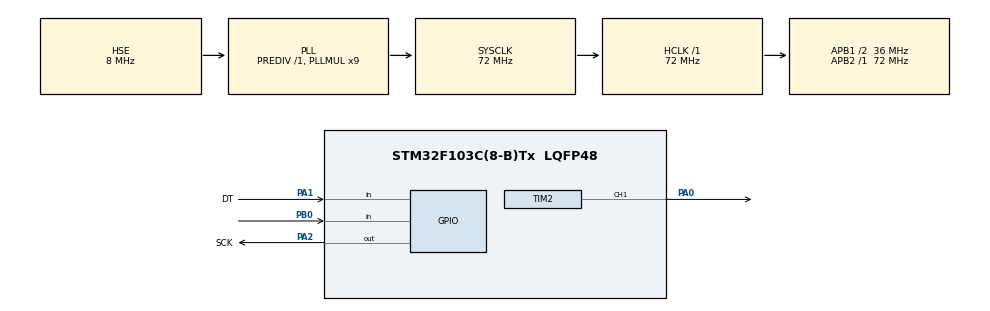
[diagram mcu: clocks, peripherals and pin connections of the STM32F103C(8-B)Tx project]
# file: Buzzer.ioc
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Mcu.Family=STM32F1
RCC.PLLSourceVirtual=RCC_PLLSOURCE_HSE
PD1-OSC_OUT.Mode=HSE-External-Oscillator
PD0-OSC_IN.Signal=RCC_OSC_IN
RCC.APB1CLKDivider=RCC_HCLK_DIV2
RCC.SYSCLKSource=RCC_SYSCLKSOURCE_PLLCLK
ProjectManager.StackSize=0x400
PA0-WKUP.Signal=S_TIM2_CH1_ETR
PD1-OSC_OUT.Signal=RCC_OSC_OUT
RCC.ADCPresc=RCC_ADCPCLK2_DIV6
PA13.Signal=SYS_JTMS-SWDIO
TIM1.Prescaler=72-1
ProjectManager.TargetToolchain=STM32CubeIDE
RCC.HCLKFreq_Value=72000000
RCC.APB2TimFreq_Value=72000000
RCC.USBFreq_Value=72000000
PA1.Signal=GPIO_Input
RCC.AHBFreq_Value=72000000
PD0-OSC_IN.Mode=HSE-External-Oscillator
board=custom
RCC.PLLMUL=RCC_PLL_MUL9
RCC.APB2Freq_Value=72000000
VP_TIM2_VS_ClockSourceINT.Mode=Internal
PA14.Mode=Serial_Wire
PA1.GPIO_Label=DT
TIM2.Channel-PWM\ Generation1\ CH1=TIM_CHANNEL_1
PA13.Mode=Serial_Wire
Mcu.Name=STM32F103C(8-B)Tx
VP_TIM1_VS_ClockSourceINT.Mode=Internal
PA2.Signal=GPIO_Output
RCC.SYSCLKFreq_VALUE=72000000
Mcu.Package=LQFP48
TIM2.Prescaler=72-1
PA2.GPIO_Label=SCK
SH.S_TIM2_CH1_ETR.0=TIM2_CH1,PWM Generation1 CH1
PA14.Signal=SYS_JTCK-SWCLK
ProjectManager.HeapSize=0x200
NVIC.PriorityGroup=NVIC_PRIORITYGROUP_4
RCC.APB1TimFreq_Value=72000000
TIM2.AutoReloadPreload=TIM_AUTORELOAD_PRELOAD_ENABLE
RCC.APB1Freq_Value=36000000
PB0.Signal=GPIO_Input
PB0.GPIO_PuPd=GPIO_PULLUP

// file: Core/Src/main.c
/* USER CODE BEGIN Header */
/**
  ******************************************************************************
  * @file           : main.c
  * @brief          : Main program body
  ******************************************************************************
  * @attention
  *
  * <h2><center>&copy; Copyright (c) 2025 STMicroelectronics.
  * All rights reserved.</center></h2>
  *
  * This software component is licensed by ST under BSD 3-Clause license,
  * the "License"; You may not use this file except in compliance with the
  * License. You may obtain a copy of the License at:
  *                        opensource.org/licenses/BSD-3-Clause
  *
  ******************************************************************************
  */
/* USER CODE END Header */
#include "main.h"

/* USER CODE BEGIN PD */
#define coreClock (72000000)
#define SYSTICK_LOAD (SystemCoreClock/1000000U)
#define SYSTICK_DELAY_CALIB (SYSTICK_LOAD >> 1)

#define DELAY_US(us) \
    do { \
         uint32_t start = SysTick->VAL; \
         uint32_t ticks = (us * SYSTICK_LOAD)-SYSTICK_DELAY_CALIB;  \
         while((start - SysTick->VAL) < ticks); \
    } while (0)

/* USER CODE END PD */

TIM_HandleTypeDef htim1;
TIM_HandleTypeDef htim2;

void SystemClock_Config(void);
static void MX_GPIO_Init(void);
static void MX_TIM1_Init(void);
static void MX_TIM2_Init(void);
/* USER CODE BEGIN PFP */
static void Tone(uint32_t Frequency, uint32_t Duration);
static void noTone();

/* USER CODE END PFP */

/* USER CODE BEGIN 0 */
int sensorVal = 0;

void start_timer(TIM_HandleTypeDef* htim)
{
	HAL_TIM_Base_Start(htim);
	__HAL_TIM_SET_COUNTER(htim,0);
}

uint32_t stop_timer(TIM_HandleTypeDef *htim)
{
	uint32_t ret = __HAL_TIM_GET_COUNTER(htim);
	HAL_TIM_Base_Stop(htim);
	return ret;
}

static void Tone(uint32_t Frequency, uint32_t Duration)
{
    TIM2->ARR = (1000000UL / Frequency) - 1; // Set The PWM Frequency
    TIM2->CCR1 = (TIM2->ARR >> 1); // Set Duty Cycle 50%
    HAL_Delay(Duration); // Wait For The Tone Duration, en ms
}

static void noTone()
{
    TIM2->CCR1 = 0; // Set Duty Cycle 0%
}

/* USER CODE END 0 */

int main(void)
{
  /* USER CODE BEGIN 1 */
//	uint32_t OctaveFour[7] = {262, 294, 330, 349, 392, 440, 493}; // Octave_4 Frequencies (C4->B4)
//
//	uint32_t notas[14]  = {2092,2792,2636,2348,2092,2792,2092,2348,2092,784,880,932,880,2092};
//	uint32_t notas2[13] = {2092,2792,2636,2348,2092,2792,2792,3136,2792,2636,2348,2636,2792};

	//elevadas un semitono más, igual al lavarropas LG
//	uint32_t notas[14]  = {2215,2958,2792,2487,2215,2958,2215,2487,2215,830,932,987,932,2215};
	uint32_t notas[14]  = {2215,2958,2792,2487,2215,1865,1976,2215,2487,1661,1865,1976,1865,2215};
	uint32_t notas2[13] = {2215,2958,2792,2487,2215,2958,2958,3321,2958,2792,2487,2792,2958};

	uint8_t NoteIndex = 0;
  /* USER CODE END 1 */

  /* MCU Configuration--------------------------------------------------------*/

  /* Reset of all peripherals, Initializes the Flash interface and the Systick. */
  HAL_Init();

  /* Configure the system clock */
  SystemClock_Config();

  /* Initialize all configured peripherals */
  MX_GPIO_Init();
  MX_TIM1_Init();
  MX_TIM2_Init();
  /* USER CODE BEGIN 2 */
  HAL_TIM_PWM_Start(&htim2, TIM_CHANNEL_1); //inicio el PWM

  /* USER CODE END 2 */

  /* Infinite loop */
  /* USER CODE BEGIN WHILE */
  while (1)
  {

//	  Tone(OctaveFour[NoteIndex++], 250);
//	          if(NoteIndex == 7){
//	              NoteIndex = 0;
//	          }
	  if(!HAL_GPIO_ReadPin(GPIOB, GPIO_PIN_0))
	      {
		  //	  Tone(OctaveFour[NoteIndex++], 250);
		  //	          if(NoteIndex == 7){
		  //	              NoteIndex = 0;
			  do{
				  Tone(notas[NoteIndex++],500);
				  Tone(notas[NoteIndex++],200);
				  Tone(notas[NoteIndex++],200);
				  Tone(notas[NoteIndex++],200);
				  Tone(notas[NoteIndex++],500);
				  Tone(notas[NoteIndex++],500);
				  Tone(notas[NoteIndex++],200);
				  Tone(notas[NoteIndex++],200);
				  Tone(notas[NoteIndex++],200);
				  Tone(notas[NoteIndex++],200);
				  Tone(notas[NoteIndex++],200);
				  Tone(notas[NoteIndex++],200);
				  Tone(notas[NoteIndex++],500);
				  Tone(notas[NoteIndex++],500);
			  }while(NoteIndex<13);
			  //if(NoteIndex == 13)
		  	  NoteIndex=0;
		  	  noTone();
		  	  HAL_Delay(25);
		  	do{
				  Tone(notas2[NoteIndex++],500);
				  Tone(notas2[NoteIndex++],200);
				  Tone(notas2[NoteIndex++],200);
				  Tone(notas2[NoteIndex++],200);
				  Tone(notas2[NoteIndex++],500);
				  Tone(notas2[NoteIndex++],500);
				  noTone();
				  HAL_Delay(25);
				  Tone(notas2[NoteIndex++],200);
				  Tone(notas2[NoteIndex++],200);
				  Tone(notas2[NoteIndex++],200);
				  Tone(notas2[NoteIndex++],200);
				  Tone(notas2[NoteIndex++],200);
				  Tone(notas2[NoteIndex++],200);
				  Tone(notas2[NoteIndex++],500);

			  }while(NoteIndex<12);
		  	NoteIndex=0;

	      }
	  else
		  noTone();

	   //UNUSED(noTone());
	  //HAL_Delay(200);//aplico 100ms de delay, tiempo que tarda en convertir el prox valor

    /* USER CODE END WHILE */

  }
}

void SystemClock_Config(void)
{
  RCC_OscInitTypeDef RCC_OscInitStruct = {0};
  RCC_ClkInitTypeDef RCC_ClkInitStruct = {0};

  /** Initializes the RCC Oscillators according to the specified parameters
  * in the RCC_OscInitTypeDef structure.
  */
  RCC_OscInitStruct.OscillatorType = RCC_OSCILLATORTYPE_HSE;
  RCC_OscInitStruct.HSEState = RCC_HSE_ON;
  RCC_OscInitStruct.HSEPredivValue = RCC_HSE_PREDIV_DIV1;
  RCC_OscInitStruct.HSIState = RCC_HSI_ON;
  RCC_OscInitStruct.PLL.PLLState = RCC_PLL_ON;
  RCC_OscInitStruct.PLL.PLLSource = RCC_PLLSOURCE_HSE;
  RCC_OscInitStruct.PLL.PLLMUL = RCC_PLL_MUL9;
  if (HAL_RCC_OscConfig(&RCC_OscInitStruct) != HAL_OK)
  {
    Error_Handler();
  }
  /** Initializes the CPU, AHB and APB buses clocks
  */
  RCC_ClkInitStruct.ClockType = RCC_CLOCKTYPE_HCLK|RCC_CLOCKTYPE_SYSCLK
                              |RCC_CLOCKTYPE_PCLK1|RCC_CLOCKTYPE_PCLK2;
  RCC_ClkInitStruct.SYSCLKSource = RCC_SYSCLKSOURCE_PLLCLK;
  RCC_ClkInitStruct.AHBCLKDivider = RCC_SYSCLK_DIV1;
  RCC_ClkInitStruct.APB1CLKDivider = RCC_HCLK_DIV2;
  RCC_ClkInitStruct.APB2CLKDivider = RCC_HCLK_DIV1;

  if (HAL_RCC_ClockConfig(&RCC_ClkInitStruct, FLASH_LATENCY_2) != HAL_OK)
  {
    Error_Handler();
  }
}

static void MX_TIM1_Init(void)
{

  TIM_ClockConfigTypeDef sClockSourceConfig = {0};
  TIM_MasterConfigTypeDef sMasterConfig = {0};

  htim1.Instance = TIM1;
  htim1.Init.Prescaler = 72-1;
  htim1.Init.CounterMode = TIM_COUNTERMODE_UP;
  htim1.Init.Period = 65535;
  htim1.Init.ClockDivision = TIM_CLOCKDIVISION_DIV1;
  htim1.Init.RepetitionCounter = 0;
  htim1.Init.AutoReloadPreload = TIM_AUTORELOAD_PRELOAD_DISABLE;
  if (HAL_TIM_Base_Init(&htim1) != HAL_OK)
  {
    Error_Handler();
  }
  sClockSourceConfig.ClockSource = TIM_CLOCKSOURCE_INTERNAL;
  if (HAL_TIM_ConfigClockSource(&htim1, &sClockSourceConfig) != HAL_OK)
  {
    Error_Handler();
  }
  sMasterConfig.MasterOutputTrigger = TIM_TRGO_RESET;
  sMasterConfig.MasterSlaveMode = TIM_MASTERSLAVEMODE_DISABLE;
  if (HAL_TIMEx_MasterConfigSynchronization(&htim1, &sMasterConfig) != HAL_OK)
  {
    Error_Handler();
  }

}

static void MX_TIM2_Init(void)
{

  TIM_ClockConfigTypeDef sClockSourceConfig = {0};
  TIM_MasterConfigTypeDef sMasterConfig = {0};
  TIM_OC_InitTypeDef sConfigOC = {0};

  htim2.Instance = TIM2;
  htim2.Init.Prescaler = 72-1;
  htim2.Init.CounterMode = TIM_COUNTERMODE_UP;
  htim2.Init.Period = 65535;
  htim2.Init.ClockDivision = TIM_CLOCKDIVISION_DIV1;
  htim2.Init.AutoReloadPreload = TIM_AUTORELOAD_PRELOAD_ENABLE;
  if (HAL_TIM_Base_Init(&htim2) != HAL_OK)
  {
    Error_Handler();
  }
  sClockSourceConfig.ClockSource = TIM_CLOCKSOURCE_INTERNAL;
  if (HAL_TIM_ConfigClockSource(&htim2, &sClockSourceConfig) != HAL_OK)
  {
    Error_Handler();
  }
  if (HAL_TIM_PWM_Init(&htim2) != HAL_OK)
  {
    Error_Handler();
  }
  sMasterConfig.MasterOutputTrigger = TIM_TRGO_RESET;
  sMasterConfig.MasterSlaveMode = TIM_MASTERSLAVEMODE_DISABLE;
  if (HAL_TIMEx_MasterConfigSynchronization(&htim2, &sMasterConfig) != HAL_OK)
  {
    Error_Handler();
  }
  sConfigOC.OCMode = TIM_OCMODE_PWM1;
  sConfigOC.Pulse = 0;
  sConfigOC.OCPolarity = TIM_OCPOLARITY_HIGH;
  sConfigOC.OCFastMode = TIM_OCFAST_DISABLE;
  if (HAL_TIM_PWM_ConfigChannel(&htim2, &sConfigOC, TIM_CHANNEL_1) != HAL_OK)
  {
    Error_Handler();
  }
  HAL_TIM_MspPostInit(&htim2);

}

static void MX_GPIO_Init(void)
{
  GPIO_InitTypeDef GPIO_InitStruct = {0};

  /* GPIO Ports Clock Enable */
  __HAL_RCC_GPIOD_CLK_ENABLE();
  __HAL_RCC_GPIOA_CLK_ENABLE();
  __HAL_RCC_GPIOB_CLK_ENABLE();

  /*Configure GPIO pin Output Level */
  HAL_GPIO_WritePin(SCK_GPIO_Port, SCK_Pin, GPIO_PIN_RESET);

  /*Configure GPIO pin : DT_Pin */
  GPIO_InitStruct.Pin = DT_Pin;
  GPIO_InitStruct.Mode = GPIO_MODE_INPUT;
  GPIO_InitStruct.Pull = GPIO_NOPULL;
  HAL_GPIO_Init(DT_GPIO_Port, &GPIO_InitStruct);

  /*Configure GPIO pin : SCK_Pin */
  GPIO_InitStruct.Pin = SCK_Pin;
  GPIO_InitStruct.Mode = GPIO_MODE_OUTPUT_PP;
  GPIO_InitStruct.Pull = GPIO_NOPULL;
  GPIO_InitStruct.Speed = GPIO_SPEED_FREQ_LOW;
  HAL_GPIO_Init(SCK_GPIO_Port, &GPIO_InitStruct);

  /*Configure GPIO pin : PB0 */
  GPIO_InitStruct.Pin = GPIO_PIN_0;
  GPIO_InitStruct.Mode = GPIO_MODE_INPUT;
  GPIO_InitStruct.Pull = GPIO_PULLUP;
  HAL_GPIO_Init(GPIOB, &GPIO_InitStruct);

}

void Error_Handler(void)
{
  __disable_irq();
  while (1)
  {
  }
}

/************************ (C) COPYRIGHT STMicroelectronics *****END OF FILE****/
